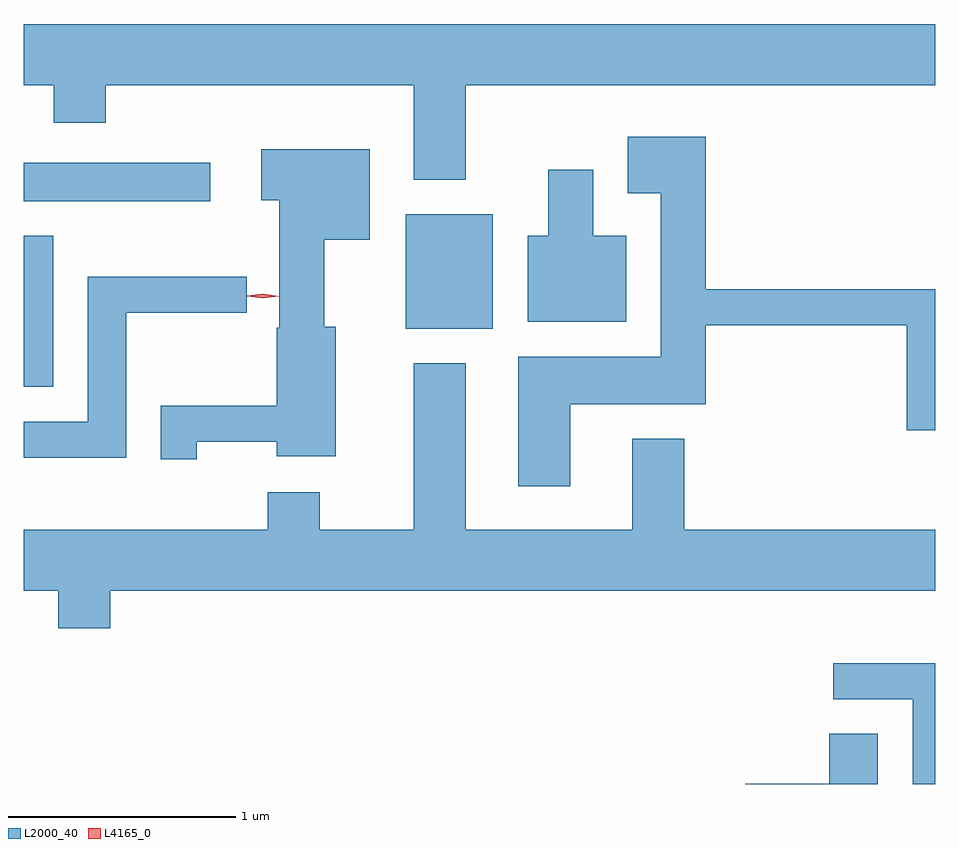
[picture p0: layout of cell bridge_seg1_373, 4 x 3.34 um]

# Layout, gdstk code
import gdstk
lib = gdstk.Library(unit=1e-6, precision=1e-09)
def R(c, l, rs):  # rectangles x0, y0, x1, y1
    for r in rs: c.add(gdstk.rectangle(r[:2], r[2:], *l))
def P(c, l, *ps):  # polygons
    for p in ps: c.add(gdstk.Polygon(p, *l))
L2000_40 = (2000, 40)
L4165_0 = (4165, 0)

bridge_seg1_373 = lib.new_cell('bridge_seg1_373')
R(bridge_seg1_373, L2000_40, [(945.84,867.171,945.969,867.834), (947.516,867.426,947.899,867.929), (945.84,867.986,946.658,868.154)])
P(bridge_seg1_373, L2000_40, [(947.779,868.496),(949.84,868.496),(949.84,868.764),(945.84,868.764),(945.84,868.496),(945.971,868.496),(945.971,868.331),(946.199,868.331),(946.199,868.496),(947.551,868.496),(947.551,868.081),(947.779,868.081)],
  [(948.239,867.096),(948.834,867.096),(948.834,867.441),(949.716,867.441),(949.716,866.981),(949.84,866.981),(949.84,867.599),(948.834,867.599),(948.834,868.269),(948.491,868.269),(948.491,868.021),(948.636,868.021),(948.636,867.304),(948.011,867.304),(948.011,866.736),(948.239,866.736)],
  [(946.599,866.931),(946.951,866.931),(946.951,866.866),(947.209,866.866),(947.209,867.434),(947.159,867.434),(947.159,867.816),(947.359,867.816),(947.359,868.214),(946.881,868.214),(946.881,867.991),(946.961,867.991),(946.961,867.43),(946.951,867.43),(946.951,867.089),(946.441,867.089),(946.441,866.853),(946.599,866.853)],
  [(948.484,867.834),(948.339,867.834),(948.339,868.124),(948.141,868.124),(948.141,867.834),(948.051,867.834),(948.051,867.456),(948.484,867.456)],
  [(946.289,867.496),(946.818,867.496),(946.818,867.654),(946.121,867.654),(946.121,867.019),(945.84,867.019),(945.84,866.861),(946.289,866.861)],
  [(948.511,866.944),(948.511,866.544),(947.779,866.544),(947.779,867.274),(947.551,867.274),(947.551,866.544),(947.139,866.544),(947.139,866.709),(946.911,866.709),(946.911,866.544),(945.84,866.544),(945.84,866.276),(945.991,866.276),(945.991,866.111),(946.219,866.111),(946.219,866.276),(949.84,866.276),(949.84,866.544),(948.739,866.544),(948.739,866.944)],
  [(949.84,865.959),(949.393,865.959),(949.393,865.801),(949.741,865.801),(949.741,865.428),(949.84,865.428)],
  [(949.589,865.649),(949.376,865.649),(949.376,865.429),(949.006,865.429),(949.006,865.428),(949.589,865.428)])
P(bridge_seg1_373, L4165_0, [(946.889,867.56),(946.82,867.57),(946.82,867.57),(946.82,867.571),(946.889,867.58),(946.958,867.57),(946.959,867.57),(946.958,867.569)])

lib.write_gds('bridge_seg1_373.gds')
